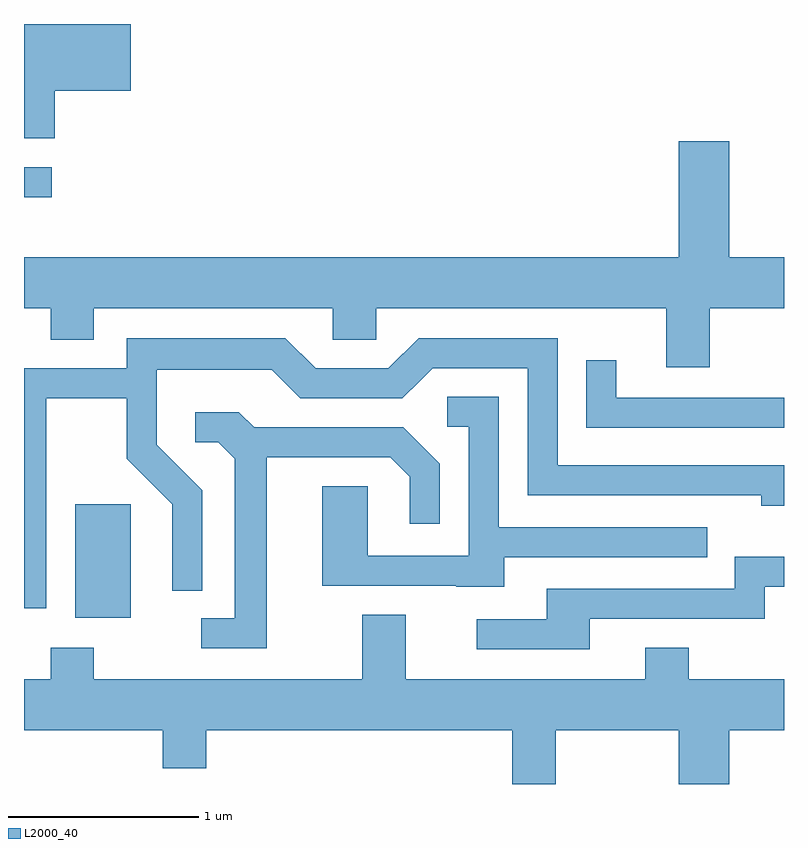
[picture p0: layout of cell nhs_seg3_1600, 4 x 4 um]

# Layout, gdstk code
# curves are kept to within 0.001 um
import gdstk
lib = gdstk.Library(unit=1e-6, precision=1e-09)
def R(c, l, rs):  # rectangles x0, y0, x1, y1
    for r in rs: c.add(gdstk.rectangle(r[:2], r[2:], *l))
def P(c, l, *ps):  # polygons
    for p in ps: c.add(gdstk.Polygon(p, *l))
L2000_40 = (2000, 40)

nhs_seg3_1600 = lib.new_cell('nhs_seg3_1600')
R(nhs_seg3_1600, L2000_40, [(231.881,1188.766,232.174,1189.364), (231.611,1190.981,231.758,1191.139)])
P(nhs_seg3_1600, L2000_40, [(231.774,1191.541),(232.174,1191.541),(232.174,1191.892),(231.611,1191.892),(231.611,1191.291),(231.774,1191.291)],
  [(231.611,1190.396),(231.751,1190.396),(231.751,1190.231),(231.979,1190.231),(231.979,1190.396),(233.236,1190.396),(233.236,1190.231),(233.464,1190.231),(233.464,1190.396),(234.991,1190.396),(234.991,1190.086),(235.219,1190.086),(235.219,1190.396),(235.611,1190.396),(235.611,1190.664),(235.324,1190.664),(235.324,1191.274),(235.056,1191.274),(235.056,1190.664),(231.611,1190.664)],
  [(231.729,1189.921),(232.151,1189.921),(232.151,1189.604),(232.391,1189.364),(232.391,1188.908),(232.549,1188.908),(232.549,1189.437),(232.309,1189.677),(232.309,1190.071),(232.914,1190.071),(233.064,1189.921),(233.602,1189.921),(233.762,1190.081),(234.261,1190.081),(234.261,1189.411),(235.491,1189.411),(235.491,1189.356),(235.611,1189.356),(235.611,1189.569),(234.419,1189.569),(234.419,1190.239),(233.689,1190.239),(233.529,1190.079),(233.147,1190.079),(232.987,1190.239),(232.151,1190.239),(232.151,1190.079),(231.611,1190.079),(231.611,1188.816),(231.729,1188.816)],
  [(235.611,1189.924),(234.729,1189.924),(234.729,1190.123),(234.571,1190.123),(234.571,1189.766),(235.611,1189.766)],
  [(234.139,1189.086),(235.208,1189.086),(235.208,1189.244),(234.109,1189.244),(234.109,1189.929),(233.838,1189.929),(233.838,1189.771),(233.951,1189.771),(233.951,1189.094),(233.419,1189.094),(233.419,1189.459),(233.181,1189.459),(233.181,1188.936),(233.885,1188.936),(233.885,1188.931),(234.139,1188.931)],
  [(232.889,1189.611),(233.539,1189.611),(233.641,1189.509),(233.641,1189.263),(233.799,1189.263),(233.799,1189.577),(233.607,1189.769),(232.822,1189.769),(232.742,1189.849),(232.513,1189.849),(232.513,1189.691),(232.634,1189.691),(232.721,1189.604),(232.721,1188.764),(232.543,1188.764),(232.543,1188.606),(232.889,1188.606)],
  [(234.589,1188.761),(235.509,1188.761),(235.509,1188.931),(235.611,1188.931),(235.611,1189.089),(235.351,1189.089),(235.351,1188.919),(234.361,1188.919),(234.361,1188.759),(233.993,1188.759),(233.993,1188.601),(234.589,1188.601)],
  [(234.181,1187.892),(234.409,1187.892),(234.409,1188.176),(235.056,1188.176),(235.056,1187.892),(235.324,1187.892),(235.324,1188.176),(235.611,1188.176),(235.611,1188.444),(235.109,1188.444),(235.109,1188.609),(234.881,1188.609),(234.881,1188.444),(233.619,1188.444),(233.619,1188.784),(233.391,1188.784),(233.391,1188.444),(231.979,1188.444),(231.979,1188.609),(231.751,1188.609),(231.751,1188.444),(231.611,1188.444),(231.611,1188.176),(232.341,1188.176),(232.341,1187.976),(232.569,1187.976),(232.569,1188.176),(234.181,1188.176)])

lib.write_gds('nhs_seg3_1600.gds')
